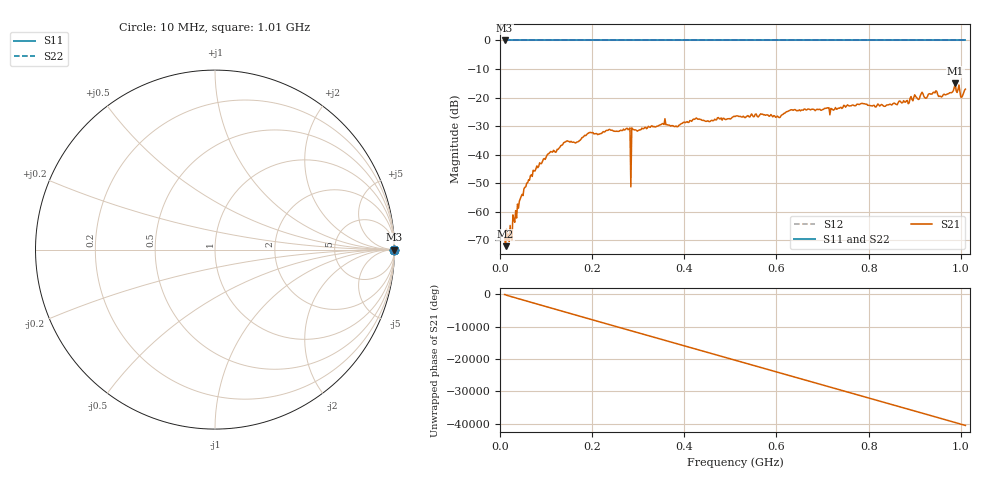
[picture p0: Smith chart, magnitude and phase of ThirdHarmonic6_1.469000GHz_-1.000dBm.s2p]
! 8/16/2025 5:07:13 PM
! C:\ANRITSUVNA\TEMP\TEMP.S2P
! CHANNEL.1
! TR.MEASUREMENT
! RAW.DATA
! RF.CORRECTION.OFF
! AVERAGING.OFF
! IF.BANDWIDTH: 5KHZ
! SWEEPTYPE:  FREQ.SWEEP(Linear)
! Reference Plane Port Info
! PORT:  PORT1  PORT2
! DISTANCE:  0  m  0  m
! TIME:  0  s  0  s
! PHASE.OFFSET:  0  deg.  0  deg.
! LOSS:  0  dB  0  dB
! REF.LOSS:  0  dB  0  dB
! REF.FREQ:  0  Hz  0  Hz
! Power Info
! POWER:  -20  dBm  -20  dBm
! EFF.POWER:  -20  dBm  -20  dBm
! SOURCE.ATTEN:  0  dB  0  dB
! TEST.ATTEN:  0  dB  0  dB
# GHZ S RI R 50.0
! FREQ.GHZ  S11RE  S11IM  S21RE  S21IM  S12RE  S12IM  S22RE  S22IM
!; PortSelection: Port_12
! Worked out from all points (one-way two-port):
!   501 points, 10 MHz to 1.01 GHz, reference 50 ohm
!   highest |S21| = -15.00 dB at 988 MHz (marker M1); lowest = -72.0 dB at 12 MHz (marker M2)
!   lowest |S11| = 0.0 dB at 10 MHz (marker M3)
!   |S11| at or under -10 dB: nowhere
!   |S22| runs from 0.0 to 0.0 dB; largest |S21 - S12| = 1.1
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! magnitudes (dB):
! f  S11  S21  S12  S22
! 10 MHz  0.0  -68.9  0.0  0.0
! 12 MHz  0.0  -72.0  0.0  0.0
! 22 MHz  0.0  -64.8  0.0  0.0
! 42 MHz  0.0  -56.3  0.0  0.0
! 76 MHz  0.0  -45.7  0.0  0.0
! 142 MHz  0.0  -35.5  0.0  0.0
! 178 MHz  0.0  -34.0  0.0  0.0
! 278 MHz  0.0  -31.2  0.0  0.0
! 280 MHz  0.0  -31.0  0.0  0.0
! 288 MHz  0.0  -31.0  0.0  0.0
! 290 MHz  0.0  -31.2  0.0  0.0
! 344 MHz  0.0  -29.8  0.0  0.0
! 510 MHz  0.0  -26.7  0.0  0.0
! 604 MHz  0.0  -26.8  0.0  0.0
! 630 MHz  0.0  -24.4  0.0  0.0
! 678 MHz  0.0  -24.1  0.0  0.0
! 844 MHz  0.0  -22.5  0.0  0.0
! 944 MHz  0.0  -18.4  0.0  0.0
! 956 MHz  0.0  -19.6  0.0  0.0
! 988 MHz  0.0  -15.0  0.0  0.0
! 1.002 GHz  0.0  -19.9  0.0  0.0
! 1.01 GHz  0.0  -17.1  0.0  0.0
